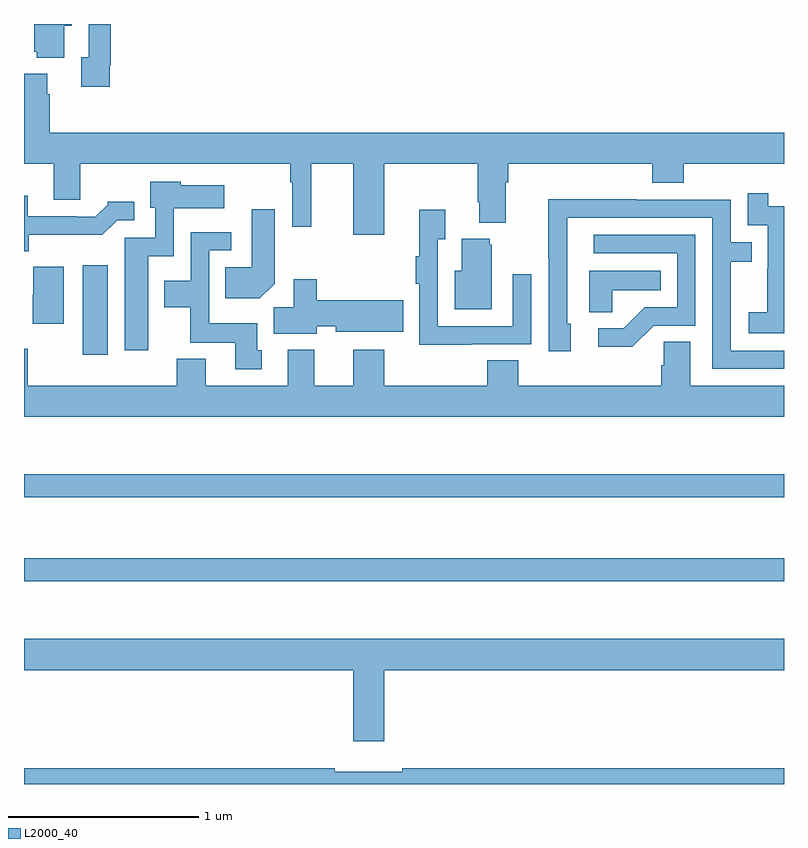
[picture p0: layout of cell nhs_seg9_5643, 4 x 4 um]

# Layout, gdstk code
import gdstk
lib = gdstk.Library(unit=1e-6, precision=1e-09)
def R(c, l, rs):  # rectangles x0, y0, x1, y1
    for r in rs: c.add(gdstk.rectangle(r[:2], r[2:], *l))
def P(c, l, *ps):  # polygons
    for p in ps: c.add(gdstk.Polygon(p, *l))
L2000_40 = (2000, 40)

nhs_seg9_5643 = lib.new_cell('nhs_seg9_5643')
R(nhs_seg9_5643, L2000_40, [(439,1183.566,443,1183.687), (439,1184.01,443,1184.131), (439.31,1184.76,439.441,1185.229)])
P(nhs_seg9_5643, L2000_40, [(439.213,1186.49),(439.252,1186.49),(439.252,1186.5),(439.055,1186.5),(439.055,1186.353),(439.067,1186.353),(439.067,1186.322),(439.213,1186.322)],
  [(439.45,1186.282),(439.457,1186.282),(439.457,1186.5),(439.341,1186.5),(439.341,1186.326),(439.301,1186.326),(439.301,1186.17),(439.45,1186.17)],
  [(440.896,1185.764),(441.388,1185.764),(441.388,1185.562),(441.395,1185.562),(441.395,1185.455),(441.535,1185.455),(441.535,1185.668),(441.548,1185.668),(441.548,1185.764),(442.307,1185.764),(442.307,1185.665),(442.472,1185.665),(442.472,1185.764),(443,1185.764),(443,1185.928),(439.136,1185.928),(439.136,1186.13),(439.123,1186.13),(439.123,1186.237),(439,1186.237),(439,1185.764),(439.157,1185.764),(439.157,1185.574),(439.297,1185.574),(439.297,1185.764),(440.4,1185.764),(440.4,1185.668),(440.412,1185.668),(440.412,1185.432),(440.511,1185.432),(440.511,1185.764),(440.732,1185.764),(440.732,1185.39),(440.896,1185.39)],
  [(439.654,1185.278),(439.788,1185.278),(439.788,1185.53),(440.053,1185.53),(440.053,1185.652),(439.824,1185.652),(439.824,1185.67),(439.664,1185.67),(439.664,1185.534),(439.692,1185.534),(439.692,1185.375),(439.529,1185.375),(439.529,1184.784),(439.654,1184.784)],
  [(443,1185.54),(442.918,1185.54),(442.918,1185.61),(442.809,1185.61),(442.809,1185.441),(442.914,1185.441),(442.914,1185.212),(442.913,1185.212),(442.913,1184.983),(442.815,1184.983),(442.815,1184.873),(443,1184.873)],
  [(439.024,1185.39),(439.413,1185.39),(439.491,1185.468),(439.579,1185.468),(439.579,1185.565),(439.44,1185.565),(439.44,1185.55),(439.376,1185.486),(439.277,1185.486),(439.277,1185.489),(439.021,1185.489),(439.021,1185.595),(439,1185.595),(439,1185.305),(439.024,1185.305)],
  [(443,1184.781),(442.719,1184.781),(442.719,1185.25),(442.829,1185.25),(442.829,1185.351),(442.719,1185.351),(442.719,1185.576),(442.223,1185.576),(442.223,1185.578),(441.76,1185.578),(441.76,1185.271),(441.762,1185.271),(441.762,1184.778),(441.877,1184.778),(441.877,1184.922),(441.858,1184.922),(441.858,1185.48),(442.623,1185.48),(442.623,1184.685),(443,1184.685)],
  [(440.32,1185.134),(440.32,1185.526),(440.198,1185.526),(440.198,1185.22),(440.059,1185.22),(440.059,1185.056),(440.242,1185.056)],
  [(441.353,1184.814),(441.669,1184.814),(441.669,1185.184),(441.573,1185.184),(441.573,1184.91),(441.177,1184.91),(441.177,1185.367),(441.217,1185.367),(441.217,1185.523),(441.08,1185.523),(441.08,1185.278),(441.061,1185.278),(441.061,1185.133),(441.081,1185.133),(441.081,1184.813),(441.353,1184.813)],
  [(440.251,1184.784),(440.227,1184.784),(440.227,1184.926),(439.974,1184.926),(439.974,1185.309),(440.092,1185.309),(440.092,1185.405),(439.878,1185.405),(439.878,1185.148),(439.739,1185.148),(439.739,1185.008),(439.876,1185.008),(439.876,1184.822),(440.111,1184.822),(440.111,1184.682),(440.251,1184.682)],
  [(442.314,1184.913),(442.533,1184.913),(442.533,1185.39),(441.999,1185.39),(441.999,1185.294),(442.437,1185.294),(442.437,1185.009),(442.268,1185.009),(442.157,1184.898),(442.023,1184.898),(442.023,1184.801),(442.201,1184.801)],
  [(441.463,1185.339),(441.452,1185.339),(441.452,1185.37),(441.305,1185.37),(441.305,1185.202),(441.266,1185.202),(441.266,1184.999),(441.463,1184.999)],
  [(439.21,1185.223),(439.048,1185.223),(439.048,1185.075),(439.046,1185.075),(439.046,1184.922),(439.21,1184.922)],
  [(442.095,1185.098),(442.352,1185.098),(442.352,1185.202),(441.974,1185.202),(441.974,1184.983),(442.095,1184.983)],
  [(440.542,1184.91),(440.642,1184.91),(440.642,1184.879),(440.995,1184.879),(440.995,1185.045),(440.542,1185.045),(440.542,1185.157),(440.42,1185.157),(440.42,1185.008),(440.315,1185.008),(440.315,1184.87),(440.542,1184.87)],
  [(443,1184.596),(442.507,1184.596),(442.507,1184.828),(442.368,1184.828),(442.368,1184.705),(442.355,1184.705),(442.355,1184.596),(441.602,1184.596),(441.602,1184.729),(441.437,1184.729),(441.437,1184.596),(440.896,1184.596),(440.896,1184.785),(440.732,1184.785),(440.732,1184.596),(440.527,1184.596),(440.527,1184.785),(440.387,1184.785),(440.387,1184.596),(439.957,1184.596),(439.957,1184.737),(439.805,1184.737),(439.805,1184.596),(439.021,1184.596),(439.021,1184.791),(439,1184.791),(439,1184.432),(443,1184.432)],
  [(440.896,1183.1),(443,1183.1),(443,1183.264),(439,1183.264),(439,1183.1),(440.732,1183.1),(440.732,1182.726),(440.896,1182.726)],
  [(443,1182.584),(440.992,1182.584),(440.992,1182.565),(440.636,1182.565),(440.636,1182.584),(439,1182.584),(439,1182.5),(443,1182.5)])

lib.write_gds('nhs_seg9_5643.gds')
